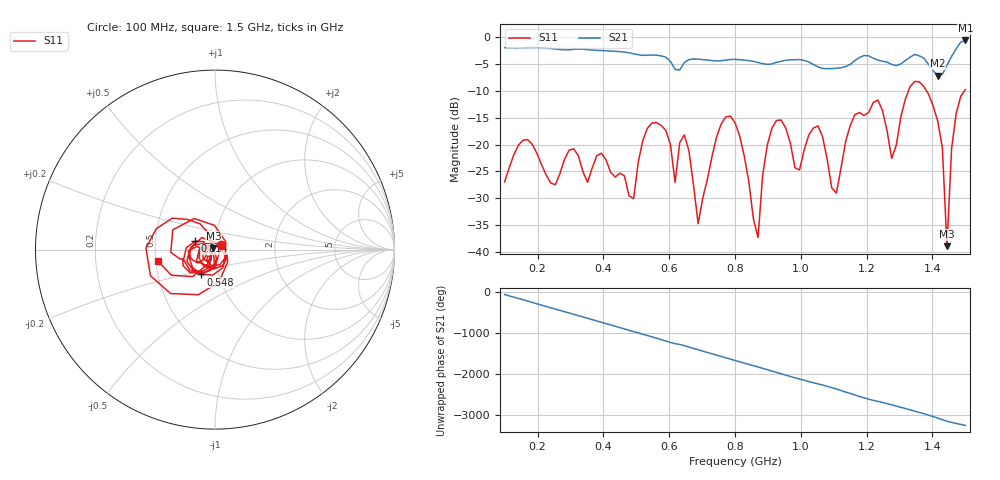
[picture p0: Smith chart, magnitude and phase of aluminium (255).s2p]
! NanoVNA-App
! Date: 2025-09-25 14:57:16
! Start: 100MHz Stop: 1,5GHz Points: 101
! S-Parameter data: F S11 S21 S12 S22
# Hz S RI R 50
!  Frequency  S11_Real  S11_Imag  S21_Real  S21_Imag  S12_Real  S12_Imag  S22_Real  S22_Imag
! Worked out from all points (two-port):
!   101 points, 100 MHz to 1.5 GHz, reference 50 ohm
!   highest |S21| = -0.57 dB at 1.5 GHz (marker M1); lowest = -7.1 dB at 1.416 GHz (marker M2)
!   |S21| within 3 dB of the highest: start of sweep to 582.4 MHz; 1.458 GHz to end of sweep (the widest 2 of 4)
!   lowest |S11| = -39.0 dB at 1.444 GHz (marker M3), VSWR 1.02, Z = 49.1 + j0.629 ohm
!   |S11| at or under -10 dB: start of sweep to 1.327 GHz; 1.382 GHz to 1.497 GHz (115.1 MHz wide, 8 % of centre)
!   S12 and S22 are empty: the file has one direction only
!   S11 on the Smith chart (normalised r, x): 100 MHz: 1.07, +0.06; 548 MHz: 0.82, -0.23; 814 MHz: 0.80, +0.07; 1.5 GHz: 0.51, -0.07
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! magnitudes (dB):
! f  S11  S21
! 100 MHz  -27.0  -1.9
! 338 MHz  -25.1  -2.2
! 492 MHz  -30.1  -3.1
! 548 MHz  -16.0  -3.3
! 576 MHz  -16.4  -3.5
! 618 MHz  -27.1  -6.0
! 646 MHz  -18.2  -4.7
! 688 MHz  -34.8  -4.1
! 800 MHz  -15.9  -4.1
! 814 MHz  -18.4  -4.2
! 870 MHz  -37.4  -4.7
! 912 MHz  -17.0  -5.0
! 996 MHz  -24.7  -4.1
! 1.038 GHz  -16.9  -5.1
! 1.108 GHz  -29.1  -5.7
! 1.22 GHz  -12.2  -3.9
! 1.276 GHz  -22.6  -5.0
! 1.346 GHz  -8.2  -3.2
! 1.416 GHz  -15.6  -7.1
! 1.444 GHz  -39.0  -5.2
! 1.458 GHz  -20.8  -3.6
! 1.5 GHz  -9.8  -0.6
